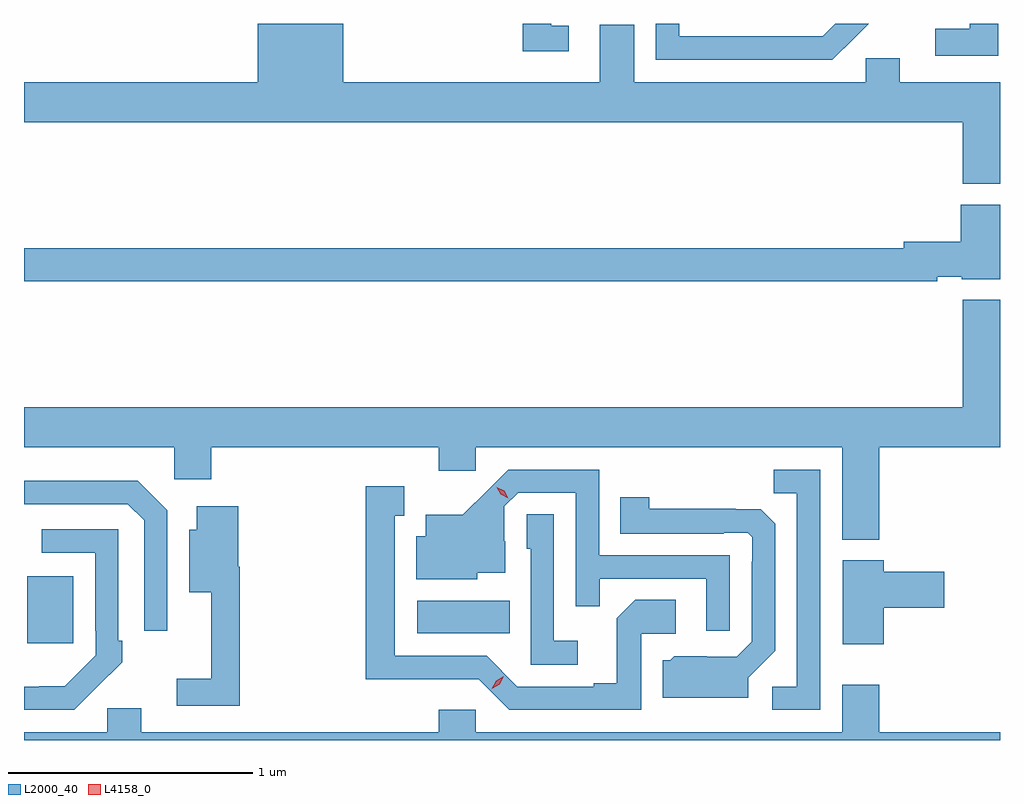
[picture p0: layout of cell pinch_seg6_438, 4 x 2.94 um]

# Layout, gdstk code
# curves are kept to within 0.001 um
import gdstk
lib = gdstk.Library(unit=1e-6, precision=1e-09)
def R(c, l, rs):  # rectangles x0, y0, x1, y1
    for r in rs: c.add(gdstk.rectangle(r[:2], r[2:], *l))
def P(c, l, *ps):  # polygons
    for p in ps: c.add(gdstk.Polygon(p, *l))
L2000_40 = (2000, 40)
L4158_0 = (4158, 0)

pinch_seg6_438 = lib.new_cell('pinch_seg6_438')
R(pinch_seg6_438, L2000_40, [(722.525,915.897,722.713,916.171), (724.122,915.938,724.502,916.072)])
P(pinch_seg6_438, L2000_40, [(726.511,918.196),(726.1,918.196),(726.1,918.294),(725.961,918.294),(725.961,918.196),(725.011,918.196),(725.011,918.432),(724.871,918.432),(724.871,918.196),(723.82,918.196),(723.82,918.436),(723.47,918.436),(723.47,918.196),(722.511,918.196),(722.511,918.032),(726.359,918.032),(726.359,917.78),(726.511,917.78)],
  [(724.744,918.429),(724.671,918.429),(724.671,918.436),(724.555,918.436),(724.555,918.324),(724.744,918.324)],
  [(726.503,918.436),(726.386,918.436),(726.386,918.415),(726.246,918.415),(726.246,918.306),(726.503,918.306)],
  [(725.915,918.379),(725.916,918.378),(725.974,918.436),(725.836,918.436),(725.785,918.385),(725.681,918.385),(725.681,918.384),(725.197,918.384),(725.197,918.436),(725.1,918.436),(725.1,918.288),(725.824,918.288)],
  [(726.254,917.399),(726.354,917.399),(726.354,917.39),(726.511,917.39),(726.511,917.695),(726.35,917.695),(726.35,917.543),(726.116,917.543),(726.116,917.516),(722.511,917.516),(722.511,917.38),(726.254,917.38)],
  [(726.017,916.7),(726.511,916.7),(726.511,917.305),(726.359,917.305),(726.359,916.864),(722.511,916.864),(722.511,916.7),(723.126,916.7),(723.126,916.569),(723.278,916.569),(723.278,916.7),(724.211,916.7),(724.211,916.605),(724.362,916.605),(724.362,916.7),(725.864,916.7),(725.864,916.322),(726.017,916.322)],
  [(725.403,916.257),(724.869,916.257),(724.869,916.608),(724.496,916.608),(724.309,916.423),(724.157,916.423),(724.157,916.336),(724.118,916.336),(724.118,916.16),(724.368,916.16),(724.368,916.187),(724.483,916.187),(724.483,916.316),(724.479,916.316),(724.479,916.458),(724.536,916.515),(724.773,916.515),(724.773,916.048),(724.871,916.048),(724.871,916.161),(725.307,916.161),(725.307,915.948),(725.403,915.948)],
  [(725.775,916.608),(725.584,916.608),(725.584,916.513),(725.679,916.513),(725.679,915.72),(725.577,915.72),(725.577,915.624),(725.775,915.624)],
  [(723.099,916.443),(722.978,916.564),(722.511,916.564),(722.511,916.467),(722.937,916.467),(723.003,916.401),(723.003,915.948),(723.099,915.948)],
  [(725.04,915.936),(725.182,915.936),(725.182,916.076),(725.017,916.076),(724.941,916),(724.941,915.733),(724.847,915.733),(724.847,915.72),(724.533,915.72),(724.407,915.846),(724.03,915.846),(724.03,916.419),(724.069,916.419),(724.069,916.54),(723.912,916.54),(723.912,915.749),(724.374,915.75),(724.5,915.624),(725.04,915.624)],
  [(725.479,915.756),(725.589,915.866),(725.589,916.388),(725.53,916.447),(725.073,916.448),(725.073,916.495),(724.954,916.495),(724.954,916.347),(725.378,916.347),(725.378,916.35),(725.478,916.35),(725.496,916.332),(725.496,916.232),(725.493,916.232),(725.493,915.903),(725.433,915.843),(725.176,915.844),(725.16,915.828),(725.129,915.828),(725.129,915.674),(725.479,915.674)],
  [(723.395,916.21),(723.389,916.21),(723.389,916.459),(723.218,916.459),(723.218,916.363),(723.188,916.363),(723.188,916.106),(723.278,916.106),(723.278,915.751),(723.138,915.751),(723.138,915.642),(723.395,915.642)],
  [(724.78,915.907),(724.683,915.907),(724.683,916.427),(724.572,916.427),(724.572,916.284),(724.587,916.284),(724.587,915.81),(724.78,915.81)],
  [(722.807,915.715),(722.808,915.714),(722.913,915.819),(722.913,915.907),(722.898,915.907),(722.898,916.365),(722.583,916.365),(722.583,916.269),(722.802,916.269),(722.802,915.949),(722.805,915.949),(722.805,915.849),(722.677,915.721),(722.511,915.72),(722.511,915.624),(722.716,915.624)],
  [(726.034,916.043),(726.283,916.043),(726.283,916.19),(726.034,916.19),(726.034,916.237),(725.867,916.237),(725.867,915.894),(726.034,915.894)],
  [(726.511,915.532),(726.017,915.532),(726.017,915.727),(725.864,915.727),(725.864,915.532),(724.362,915.532),(724.362,915.625),(724.211,915.625),(724.211,915.532),(722.992,915.532),(722.992,915.63),(722.853,915.63),(722.853,915.532),(722.511,915.532),(722.511,915.5),(726.511,915.5)])
P(pinch_seg6_438, L4158_0, [(724.495,916.492),(724.465,916.507),(724.448,916.537),(724.448,916.537),(724.449,916.537),(724.479,916.522),(724.496,916.492),(724.496,916.492)],
  [(724.429,915.71),(724.429,915.71),(724.446,915.743),(724.477,915.762),(724.477,915.762),(724.477,915.762),(724.46,915.729),(724.429,915.71)])

lib.write_gds('pinch_seg6_438.gds')
